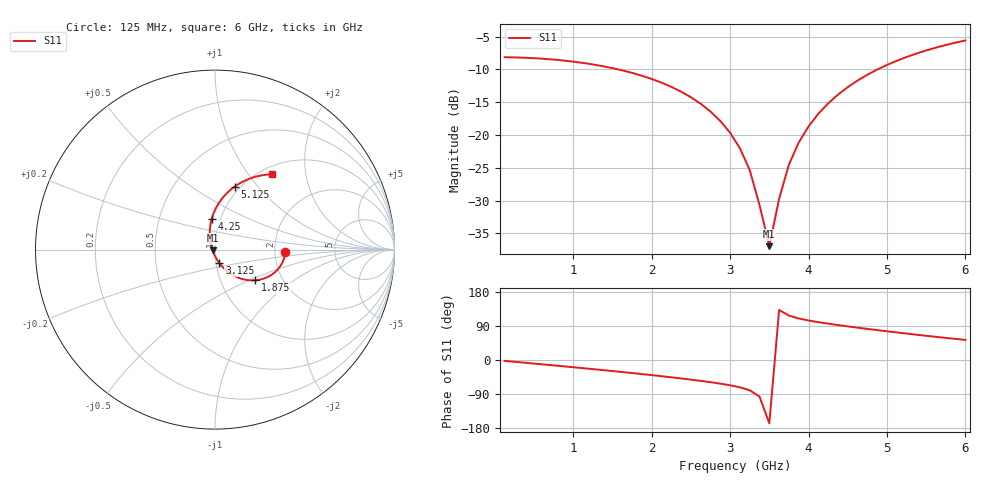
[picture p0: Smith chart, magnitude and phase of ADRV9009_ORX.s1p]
! Created Fri Mar 27 14:05:33 2015
! ORX Port Z Model. Valid for ORX1 and ORX2.
! Format : SEDZ : Series Equivalent Differential Z
! Built from Die Layout Post Extraction & EM based Laminate "S"
! Model.
! Port 1 : Differential : Across + & - Input Ports : Board Ball Pad Reference Plane.
# hz S ma R 50
! 1 Port Network Data from SP1.SP block
! freq  magS11  angS11
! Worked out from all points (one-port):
!   48 points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, 125 MHz to 6 GHz, reference 50 ohm
!   lowest |S11| = -36.9 dB at 3.5 GHz (marker M1), VSWR 1.03, Z = 48.6 - j0.308 ohm
!   |S11| at or under -10 dB: 1.57 GHz to 4.881 GHz (3.31 GHz wide, 103 % of centre)
!   S11 on the Smith chart (normalised r, x): 125 MHz: 2.28, -0.09; 1.875 GHz: 1.46, -0.54; 3.125 GHz: 1.04, -0.16; 4.25 GHz: 0.91, +0.32; 5.125 GHz: 0.94, +0.77; 6 GHz: 1.12, +1.30
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1.25e8  0.3913 -2.3
8.75e8  0.3693 -16.6
1.25e9  0.3448 -24.1
1.625e9  0.3109 -31.8
1.875e9  0.2829 -37.2
2.125e9  0.2506 -42.8
2.375e9  0.214 -48.7
2.625e9  0.173 -55.1
2.75e9  0.1509 -58.6
2.875e9  0.1279 -62.4
3e9  0.104 -66.7
3.125e9  0.07935 -72.1
3.25e9  0.05413 -79.9
3.375e9  0.0293 -96.6
3.5e9  0.01424 -167.2
3.625e9  0.03268 132.0
3.75e9  0.05949 117.1
3.875e9  0.08762 109.6
4e9  0.1163 104.3
4.125e9  0.1452 99.9
4.25e9  0.1741 95.9
4.375e9  0.203 92.2
4.625e9  0.2599 85.3
4.875e9  0.3151 78.9
5.125e9  0.3677 72.7
5.375e9  0.4172 66.8
5.625e9  0.4631 61.1
6e9  0.5251 53.0
